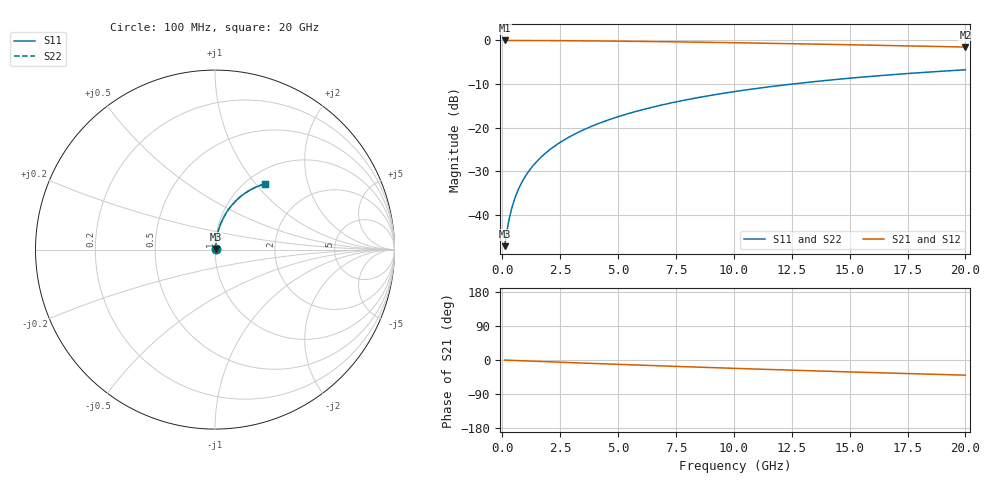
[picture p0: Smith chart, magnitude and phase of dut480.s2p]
! Touchstone file exported from HFSS 2024.1.0
!  File:  C:/UserFiles/LocalFiles/RDL_TSV_Batchsim/temp_RDL_top_480_1779678295.aedt
!  Generated:  11:07:16 AM May 25, 2026
!  Design:  RDL_top
!  Project:  temp_RDL_top_480_1779678295
!  Setup:  Setup1
!  Solution:  Sweep
! Variables:
!  dtsv = 10.80580581um
!  hbump = 3um
!  htsv = 98.81um
!  ldown = 100um
!  lrdl = 500.79um
!  p = 40
!  p1 = 52.64um
!  rhole = 1um
!  t = 450um
!  tdown = 3.915915916um
!  trdl = 4.55um
!  wdown = 15.38538539um
!  wrdl = 11.83um
# GHz S MA R 50.000000
! Terminal data exported
! Port[1] = Box2_T1
! Port[2] = Box2_T2
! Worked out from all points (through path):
!   200 points, 100 MHz to 20 GHz, reference 50 ohm
!   highest |S21| = -0.03 dB at 100 MHz (marker M1); lowest = -1.5 dB at 20 GHz (marker M2)
!   group delay of S21, straight-line fit = 5.55 ps
!   lowest |S11| = -47.2 dB at 100 MHz (marker M3), VSWR 1.01, Z = 50.3 + j0.279 ohm
!   |S11| at or under -10 dB: start of sweep to 12.56 GHz
!   |S22| runs from -47.2 to -6.8 dB; largest |S21 - S12| = 2.7e-15
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0.1  0.004355 39.6  0.9966 -0.2  0.9966 -0.2  0.004355 39.6
! Gamma 0 0 0 0
! Port Impedance 50 0 50 0
0.2  0.006498 58.5  0.9966 -0.5  0.9966 -0.5  0.006497 58.5
0.3  0.008992 67.5  0.9965 -0.7  0.9965 -0.7  0.008991 67.5
0.4  0.01161 72.3  0.9964 -1.0  0.9964 -1.0  0.01161 72.3
0.5  0.01427 75.3  0.9962 -1.2  0.9962 -1.2  0.01427 75.3
0.6  0.01695 77.2  0.9961 -1.4  0.9961 -1.4  0.01695 77.2
0.8  0.02233 79.5  0.9958 -1.9  0.9958 -1.9  0.02233 79.5
1.1  0.03038 81.1  0.9953 -2.6  0.9953 -2.6  0.03038 81.1
1.5  0.04106 81.8  0.9945 -3.5  0.9945 -3.5  0.04106 81.9
1.8  0.04904 82.0  0.9938 -4.2  0.9938 -4.2  0.04903 82.0
2.1  0.05699 81.9  0.9929 -4.9  0.9929 -4.9  0.05699 82.0
2.7  0.07284 81.5  0.9908 -6.3  0.9908 -6.3  0.07284 81.5
3.5  0.09389 80.6  0.9873 -8.1  0.9873 -8.1  0.09389 80.6
4.2  0.1122 79.7  0.9837 -9.7  0.9837 -9.7  0.1122 79.7
5  0.133 78.4  0.979 -11.5  0.979 -11.5  0.133 78.4
5.9  0.1562 77.0  0.973 -13.5  0.973 -13.5  0.1562 77.0
6.8  0.1791 75.4  0.9664 -15.4  0.9664 -15.4  0.1791 75.4
8.3  0.2165 72.8  0.9543 -18.6  0.9543 -18.6  0.2165 72.8
10.1  0.26 69.6  0.9383 -22.2  0.9383 -22.2  0.2599 69.6
13.4  0.3344 63.8  0.9063 -28.6  0.9063 -28.6  0.3344 63.8
16.7  0.401 58.1  0.8721 -34.5  0.8721 -34.5  0.401 58.1
20  0.4593 52.8  0.8374 -40.0  0.8374 -40.0  0.4592 52.8
